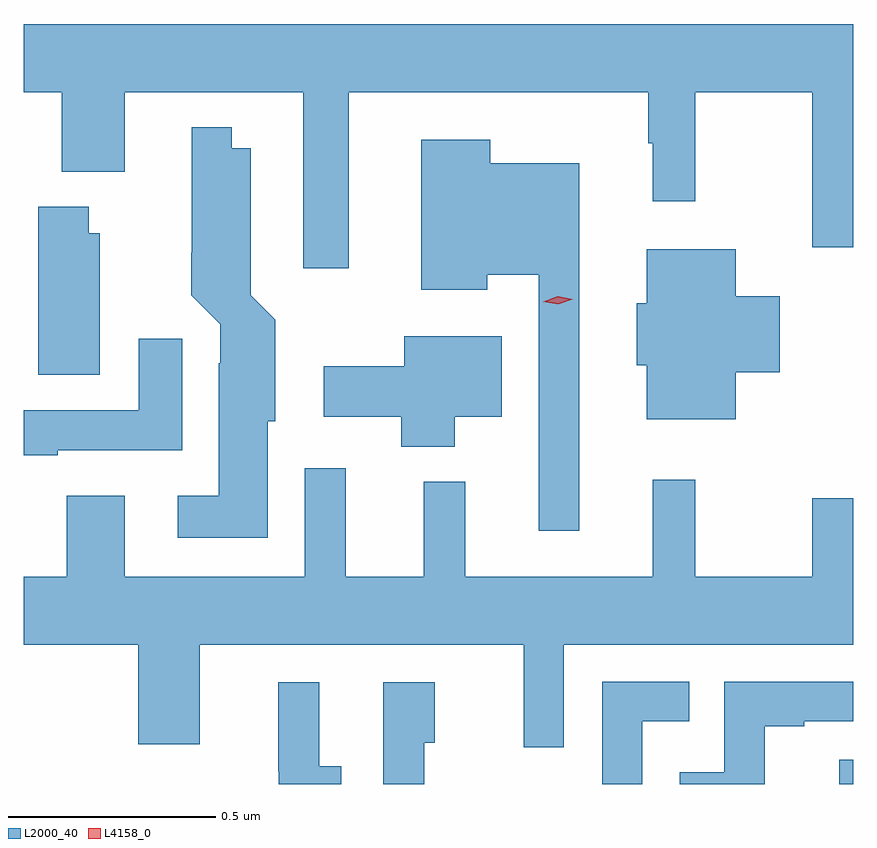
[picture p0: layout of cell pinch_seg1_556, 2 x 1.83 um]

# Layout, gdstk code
import gdstk
lib = gdstk.Library(unit=1e-6, precision=1e-09)
def R(c, l, rs):  # rectangles x0, y0, x1, y1
    for r in rs: c.add(gdstk.rectangle(r[:2], r[2:], *l))
def P(c, l, *ps):  # polygons
    for p in ps: c.add(gdstk.Polygon(p, *l))
L2000_40 = (2000, 40)
L4158_0 = (4158, 0)

pinch_seg1_556 = lib.new_cell('pinch_seg1_556')
R(pinch_seg1_556, L2000_40, [(1040.197,523.424,1040.231,523.483)])
P(pinch_seg1_556, L2000_40, [(1039.015,525.092),(1039.737,525.092),(1039.737,524.969),(1039.748,524.969),(1039.748,524.829),(1039.85,524.829),(1039.85,525.092),(1040.132,525.092),(1040.132,524.718),(1040.231,524.718),(1040.231,525.256),(1038.231,525.256),(1038.231,525.092),(1038.323,525.092),(1038.323,524.9),(1038.475,524.9),(1038.475,525.092),(1038.905,525.092),(1038.905,524.667),(1039.015,524.667)],
  [(1038.82,524.298),(1038.838,524.298),(1038.838,524.543),(1038.779,524.602),(1038.779,524.701),(1038.778,524.701),(1038.778,524.956),(1038.733,524.956),(1038.733,525.007),(1038.636,525.007),(1038.636,524.704),(1038.635,524.704),(1038.635,524.602),(1038.705,524.532),(1038.705,524.438),(1038.701,524.438),(1038.701,524.119),(1038.603,524.119),(1038.603,524.018),(1038.82,524.018)],
  [(1039.57,524.92),(1039.356,524.92),(1039.356,524.977),(1039.19,524.977),(1039.19,524.615),(1039.348,524.615),(1039.348,524.651),(1039.473,524.651),(1039.473,524.034),(1039.57,524.034)],
  [(1038.415,524.751),(1038.388,524.751),(1038.388,524.815),(1038.266,524.815),(1038.266,524.41),(1038.415,524.41)],
  [(1039.948,524.417),(1040.053,524.417),(1040.053,524.6),(1039.948,524.6),(1039.948,524.713),(1039.733,524.713),(1039.733,524.583),(1039.709,524.583),(1039.709,524.433),(1039.733,524.433),(1039.733,524.303),(1039.948,524.303)],
  [(1039.27,524.309),(1039.384,524.309),(1039.384,524.503),(1039.148,524.503),(1039.148,524.431),(1038.954,524.431),(1038.954,524.309),(1039.141,524.309),(1039.141,524.237),(1039.27,524.237)],
  [(1038.313,524.229),(1038.613,524.229),(1038.613,524.497),(1038.509,524.497),(1038.509,524.325),(1038.231,524.325),(1038.231,524.217),(1038.313,524.217)],
  [(1039.533,523.76),(1040.231,523.76),(1040.231,524.113),(1040.132,524.113),(1040.132,523.924),(1039.85,523.924),(1039.85,524.158),(1039.748,524.158),(1039.748,523.924),(1039.295,523.924),(1039.295,524.152),(1039.196,524.152),(1039.196,523.924),(1039.007,523.924),(1039.007,524.185),(1038.909,524.185),(1038.909,523.924),(1038.475,523.924),(1038.475,524.119),(1038.335,524.119),(1038.335,523.924),(1038.231,523.924),(1038.231,523.76),(1038.507,523.76),(1038.507,523.52),(1038.655,523.52),(1038.655,523.76),(1039.436,523.76),(1039.436,523.512),(1039.533,523.512)],
  [(1040.018,523.563),(1040.113,523.563),(1040.113,523.575),(1040.231,523.575),(1040.231,523.671),(1039.92,523.671),(1039.92,523.452),(1039.812,523.452),(1039.812,523.424),(1040.018,523.424)],
  [(1039.722,523.575),(1039.835,523.575),(1039.835,523.671),(1039.626,523.671),(1039.626,523.424),(1039.722,523.424)],
  [(1038.997,523.467),(1038.943,523.467),(1038.943,523.669),(1038.845,523.669),(1038.845,523.455),(1038.846,523.455),(1038.846,523.424),(1038.997,523.424)],
  [(1039.197,523.524),(1039.222,523.524),(1039.222,523.669),(1039.098,523.669),(1039.098,523.424),(1039.197,523.424)])
P(pinch_seg1_556, L4158_0, [(1039.52,524.58),(1039.484,524.587),(1039.484,524.587),(1039.484,524.587),(1039.519,524.6),(1039.555,524.592),(1039.555,524.592),(1039.555,524.592)])

lib.write_gds('pinch_seg1_556.gds')
